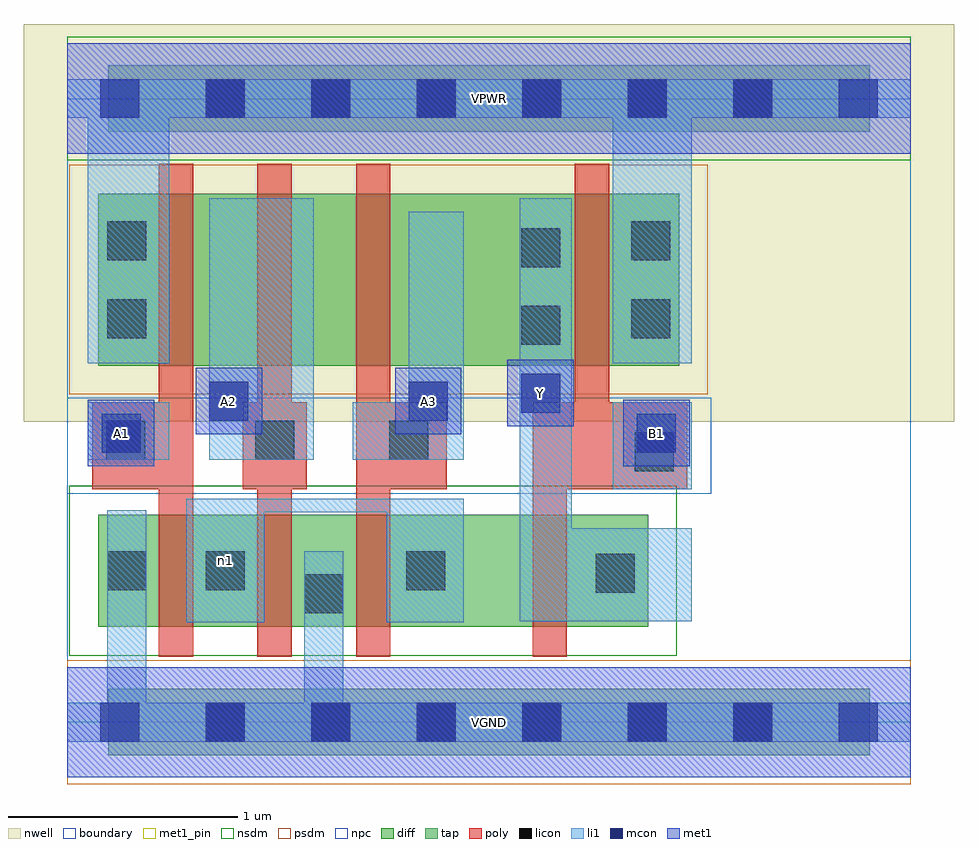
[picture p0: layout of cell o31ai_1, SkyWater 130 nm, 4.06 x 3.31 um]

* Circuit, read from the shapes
.subckt o31ai_1 A1 A2 A3 B1 VGND VPWR Y n1
XM1 n1 A1 VGND VGND sky130_fd_pr__nfet_01v8 w=0.49 l=0.15
XM2 VGND A2 n1 VGND sky130_fd_pr__nfet_01v8 w=0.49 l=0.15
XM3 n1 A3 VGND VGND sky130_fd_pr__nfet_01v8 w=0.49 l=0.15
XM4 Y B1 n1 VGND sky130_fd_pr__nfet_01v8 w=0.49 l=0.15
XM5 n2 A1 VPWR VPWR sky130_fd_pr__pfet_01v8 w=0.75 l=0.15
XM6 n3 A2 n2 VPWR sky130_fd_pr__pfet_01v8 w=0.75 l=0.15
XM7 Y A3 n3 VPWR sky130_fd_pr__pfet_01v8 w=0.75 l=0.15
XM8 VPWR B1 Y VPWR sky130_fd_pr__pfet_01v8 w=0.75 l=0.15
.ends

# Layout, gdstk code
import gdstk
lib = gdstk.Library(unit=1e-6, precision=1e-09)
def R(c, l, rs):  # rectangles x0, y0, x1, y1
    for r in rs: c.add(gdstk.rectangle(r[:2], r[2:], *l))
def A(c, l, x, y, w, h, nx, ny, dx, dy):  # array of equal rectangles
    R(c, l, [(x+i*dx, y+j*dy, x+i*dx+w, y+j*dy+h) for i in range(nx) for j in range(ny)])
nwell = (64, 20)
diff = (65, 20)
tap = (65, 44)
poly = (66, 20)
licon = (66, 44)
li1 = (67, 20)
mcon = (67, 44)
met1_pin = (68, 16)
met1 = (68, 20)
nsdm = (93, 44)
psdm = (94, 20)
npc = (95, 20)
boundary = (235, 4)

o31ai_1 = lib.new_cell('o31ai_1')
R(o31ai_1, nwell, [(-0.19,1.31,3.87,3.045), (0,1.31,3.68,3.045)])
R(o31ai_1, diff, [(0.135,0.415,2.535,0.905), (0.135,1.555,2.67,2.305)])
R(o31ai_1, tap, [(0.18,-0.145,3.5,0.145), (0.18,2.575,3.5,2.865)])
A(o31ai_1, poly, 0.4, 0.285, 0.15, 2.15, 3, 1, 0.43, 0)
R(o31ai_1, poly, [(2.03,0.285,2.18,1.395), (0.11,1.015,0.55,1.395), (0.765,1.015,1.045,1.395), (1.26,1.015,1.655,1.395), (2.03,1.015,2.705,1.395), (2.215,1.015,2.365,2.435)])
A(o31ai_1, licon, 0.605, -0.085, 0.17, 0.17, 6, 2, 0.46, 2.72)
R(o31ai_1, licon, [(1.035,0.475,1.205,0.645), (2.305,0.565,2.475,0.735), (0.175,0.575,0.345,0.745), (0.605,0.575,0.775,0.745), (1.48,0.575,1.65,0.745), (2.475,1.095,2.645,1.265), (0.17,1.145,0.34,1.315), (0.82,1.145,0.99,1.315), (1.405,1.145,1.575,1.315), (1.98,1.645,2.15,1.815), (0.175,1.675,0.345,1.845), (2.46,1.675,2.63,1.845), (1.98,1.985,2.15,2.155), (0.175,2.015,0.345,2.185), (2.46,2.015,2.63,2.185)])
R(o31ai_1, li1, [(0,-0.085,3.68,0.085), (0.175,-0.085,0.345,0.925), (1.035,-0.085,1.205,0.745), (0.52,0.435,0.86,0.975), (1.395,0.435,1.73,0.975), (1.975,0.44,2.2,2.285), (1.975,0.44,2.725,0.845), (0.52,0.915,1.73,0.975), (2.38,1.015,2.725,1.395), (0.09,1.145,0.445,1.395), (0.62,1.145,1.075,2.285), (1.245,1.145,1.73,1.395), (1.49,1.145,1.73,2.225), (0.09,1.565,0.445,2.805), (2.38,1.565,2.725,2.805), (0,2.635,3.68,2.805)])
A(o31ai_1, mcon, 0.145, -0.085, 0.17, 0.17, 8, 2, 0.46, 2.72)
R(o31ai_1, mcon, [(0.15,1.175,0.32,1.345), (2.485,1.175,2.655,1.345), (0.62,1.315,0.79,1.485), (1.49,1.315,1.66,1.485), (1.98,1.35,2.15,1.52)])
R(o31ai_1, met1_pin, [(0,-0.24,3.68,0.24), (0.09,1.115,0.38,1.405), (2.425,1.115,2.715,1.405), (0.56,1.255,0.85,1.545), (1.43,1.255,1.72,1.545), (1.92,1.29,2.21,1.58), (0,2.48,3.68,2.96)])
R(o31ai_1, met1, [(0,-0.24,3.68,0.24), (0.09,1.115,0.38,1.405), (2.425,1.115,2.715,1.405), (0.56,1.255,0.85,1.545), (1.43,1.255,1.72,1.545), (1.92,1.29,2.21,1.58), (0,2.48,3.68,2.96)])
R(o31ai_1, nsdm, [(0.01,0.29,2.66,1.03), (0,2.45,3.68,2.99)])
R(o31ai_1, psdm, [(0,-0.27,3.68,0.27), (0.01,1.43,2.795,2.43)])
R(o31ai_1, npc, [(0,0.995,2.81,1.415)])
R(o31ai_1, boundary, [(0,0,3.68,2.72)])
o31ai_1.add(gdstk.Label('n1', (0.69,0.705), layer=67, texttype=5))
o31ai_1.add(gdstk.Label('A1', (0.235,1.26), layer=68, texttype=5))
o31ai_1.add(gdstk.Label('A2', (0.705,1.4), layer=68, texttype=5))
o31ai_1.add(gdstk.Label('A3', (1.575,1.4), layer=68, texttype=5))
o31ai_1.add(gdstk.Label('B1', (2.57,1.26), layer=68, texttype=5))
o31ai_1.add(gdstk.Label('Y', (2.065,1.435), layer=68, texttype=5))
o31ai_1.add(gdstk.Label('VPWR', (1.84,2.72), layer=68, texttype=5))
o31ai_1.add(gdstk.Label('VGND', (1.84,0), layer=68, texttype=5))
o31ai_1.add(gdstk.Label('A1', (0.235,1.26), layer=68, texttype=16))
o31ai_1.add(gdstk.Label('A2', (0.705,1.4), layer=68, texttype=16))
o31ai_1.add(gdstk.Label('A3', (1.575,1.4), layer=68, texttype=16))
o31ai_1.add(gdstk.Label('B1', (2.57,1.26), layer=68, texttype=16))
o31ai_1.add(gdstk.Label('Y', (2.065,1.435), layer=68, texttype=16))
o31ai_1.add(gdstk.Label('VPWR', (1.84,2.72), layer=68, texttype=16))
o31ai_1.add(gdstk.Label('VGND', (1.84,0), layer=68, texttype=16))

lib.write_gds('o31ai_1.gds')
